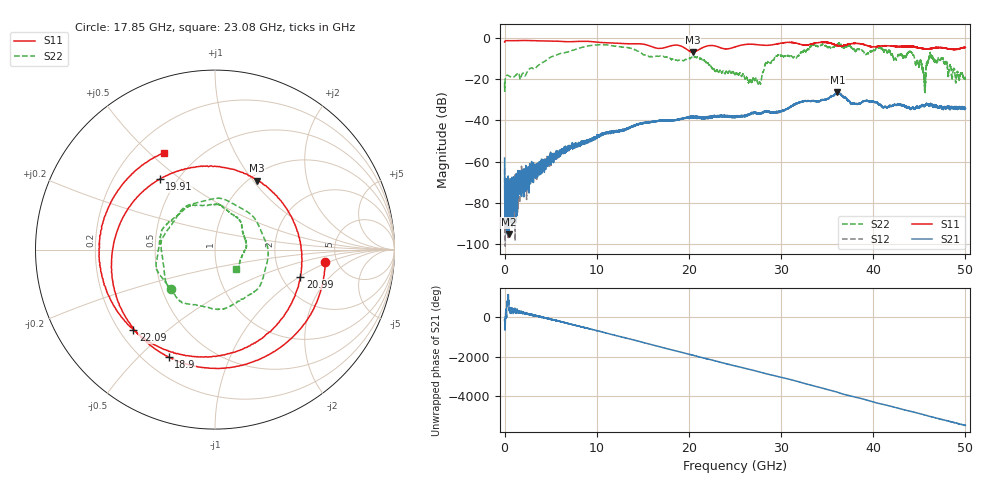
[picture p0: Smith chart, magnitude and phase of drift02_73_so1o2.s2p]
!Created with skrf (http://scikit-rf.org).
# Hz S RI R 50.0
!freq ReS11 ImS11 ReS21 ImS21 ReS12 ImS12 ReS22 ImS22
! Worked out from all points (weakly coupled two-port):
!   10001 points, 300 kHz to 50 GHz, reference 50 ohm
!   highest |S21| = -26.35 dB at 36.12 GHz (marker M1); lowest = -95.1 dB at 480.3 MHz (marker M2)
!   lowest |S11| = -6.9 dB at 20.41 GHz (marker M3), VSWR 2.64, Z = 54.4 + j52.4 ohm
!   |S11| at or under -10 dB: nowhere
!   |S22| runs from -26.6 to -2.5 dB; largest |S21 - S12| = 0.0051
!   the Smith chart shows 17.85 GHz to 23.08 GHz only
!   S11 on the Smith chart (normalised r, x): 17.85 GHz: 4.02, -0.87; 18.9 GHz: 0.30, -0.62; 19.91 GHz: 0.40, +0.42; 20.99 GHz: 2.53, -1.02; 22.09 GHz: 0.26, -0.39; 23.08 GHz: 0.32, +0.55
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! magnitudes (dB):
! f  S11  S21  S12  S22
! 300 kHz  -2.1  -58.3  -63.5  -21.7
! 480.3 MHz  -1.5  -95.1  -78.3  -18.6
! 8.335 GHz  -1.7  -50.6  -50.5  -4.8
! 16.67 GHz  -5.2  -40.3  -40.3  -9.0
! 17.85 GHz  -4.2  -40.1  -40.0  -9.6
! 18.9 GHz  -3.7  -39.8  -39.7  -10.9
! 19.91 GHz  -6.0  -38.6  -38.6  -9.9
! 20.41 GHz  -6.9  -38.4  -38.5  -9.8
! 20.99 GHz  -6.0  -38.4  -38.4  -9.3
! 22.09 GHz  -3.9  -38.6  -38.7  -12.5
! 23.08 GHz  -4.3  -38.1  -38.0  -15.8
! 25 GHz  -4.5  -38.2  -37.9  -17.7
! 27.63 GHz  -3.5  -36.5  -36.6  -21.6
! 29.54 GHz  -3.0  -35.7  -36.2  -8.9
! 33.34 GHz  -3.0  -30.6  -30.5  -3.8
! 36.12 GHz  -3.9  -26.3  -26.9  -3.3
! 41.67 GHz  -4.0  -33.3  -33.3  -6.3
! 44.12 GHz  -4.1  -34.7  -34.3  -7.1
! 45.52 GHz  -5.4  -32.9  -33.0  -20.5
! 46.2 GHz  -5.2  -32.3  -32.1  -7.3
! 47.33 GHz  -4.8  -33.4  -33.4  -10.6
! 50 GHz  -4.7  -34.5  -34.3  -20.3
